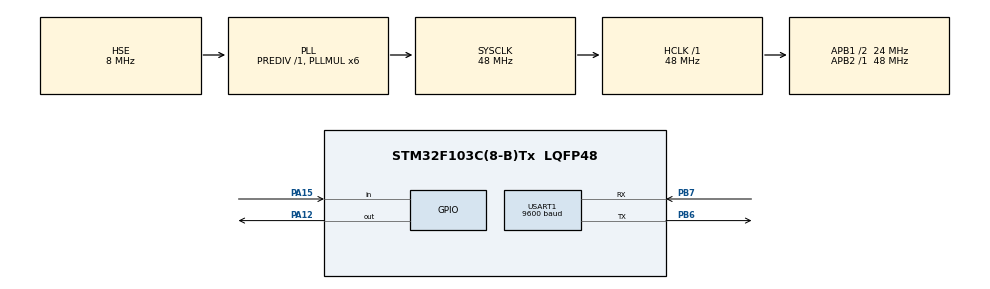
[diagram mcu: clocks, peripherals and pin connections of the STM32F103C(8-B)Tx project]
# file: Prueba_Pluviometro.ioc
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Mcu.Family=STM32F1
Mcu.Name=STM32F103C(8-B)Tx
Mcu.Package=LQFP48
NVIC.PriorityGroup=NVIC_PRIORITYGROUP_4
NVIC.TIM3_IRQn=true\:0\:0\:false\:false\:true\:true\:true\:true
PA12.GPIO_Speed=GPIO_SPEED_FREQ_HIGH
PA12.Signal=GPIO_Output
PA13.Mode=Serial_Wire
PA13.Signal=SYS_JTMS-SWDIO
PA14.Mode=Serial_Wire
PA14.Signal=SYS_JTCK-SWCLK
PA15.GPIO_PuPd=GPIO_PULLUP
PA15.Signal=GPIO_Input
PB6.Mode=Asynchronous
PB6.Signal=USART1_TX
PB7.Mode=Asynchronous
PB7.Signal=USART1_RX
PD0-OSC_IN.Mode=HSE-External-Oscillator
PD0-OSC_IN.Signal=RCC_OSC_IN
PD1-OSC_OUT.Mode=HSE-External-Oscillator
PD1-OSC_OUT.Signal=RCC_OSC_OUT
ProjectManager.HeapSize=0x200
ProjectManager.StackSize=0x400
ProjectManager.TargetToolchain=STM32CubeIDE
RCC.AHBFreq_Value=48000000
RCC.APB1CLKDivider=RCC_HCLK_DIV2
RCC.APB1Freq_Value=24000000
RCC.APB1TimFreq_Value=48000000
RCC.APB2Freq_Value=48000000
RCC.APB2TimFreq_Value=48000000
RCC.HCLKFreq_Value=48000000
RCC.PLLMUL=RCC_PLL_MUL6
RCC.PLLSourceVirtual=RCC_PLLSOURCE_HSE
RCC.SYSCLKFreq_VALUE=48000000
RCC.SYSCLKSource=RCC_SYSCLKSOURCE_PLLCLK
RCC.USBFreq_Value=48000000
TIM1.Prescaler=48
TIM3.Period=47999
USART1.BaudRate=9600
USART1.VirtualMode=VM_ASYNC
VP_TIM1_VS_ClockSourceINT.Mode=Internal
VP_TIM3_VS_ClockSourceINT.Mode=Internal
board=custom

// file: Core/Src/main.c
/* USER CODE BEGIN Header */
/**
  ******************************************************************************
  * @file           : main.c
  * @brief          : Main program body
  ******************************************************************************
  * @attention
  *
  * Copyright (c) 2022 STMicroelectronics.
  * All rights reserved.
  *
  * This software is licensed under terms that can be found in the LICENSE file
  * in the root directory of this software component.
  * If no LICENSE file comes with this software, it is provided AS-IS.
  *
  ******************************************************************************
  */
/* USER CODE END Header */
#include "main.h"

/* USER CODE BEGIN Includes */
#include "stdio.h"
#include "string.h"
#include "HX711.h"
/* USER CODE END Includes */

/* USER CODE BEGIN PD */
#define P1 0.0
#define P2 500.0 // Peso del objeto utilizado para la calibración del sensor (botella de agua de 500 ml)
#define d 10.5 // Diámetro del recipiente del pluviómetro (en cm)
#define pi 3.141592654 // Número pi
/* USER CODE END PD */

TIM_HandleTypeDef htim1;
TIM_HandleTypeDef htim3;

UART_HandleTypeDef huart1;

void SystemClock_Config(void);
static void MX_GPIO_Init(void);
static void MX_USART1_UART_Init(void);
static void MX_TIM3_Init(void);
static void MX_TIM1_Init(void);
/* USER CODE BEGIN PFP */
/*void Delay_Microseconds(uint16_t);
uint32_t HX711_Read_Value(_Bool);
uint32_t HX711_Read_Average(uint8_t);
void HX711_Set_Scale(uint8_t);
float Leer_Pluviometro(void);*/
/* USER CODE END PFP */

/* USER CODE BEGIN 0 */

_Bool flag_muestras=0; // Variable bandera que se activa cada 1 ms cuando interrumpe el TIM3

/* Callback que se activa cuando el timer genera una interrupción por overflow. Esta interrupción se genera
 * cada 1 ms, y sirve para generar la demora necesaria para la toma de muestras de la celda de carga */
void HAL_TIM_PeriodElapsedCallback(TIM_HandleTypeDef *htim){

	flag_muestras=1;
}

/* USER CODE END 0 */

int main(void)
{

  /* MCU Configuration--------------------------------------------------------*/

  /* Reset of all peripherals, Initializes the Flash interface and the Systick. */
  HAL_Init();

  /* Configure the system clock */
  SystemClock_Config();

  /* Initialize all configured peripherals */
  MX_GPIO_Init();
  MX_USART1_UART_Init();
  MX_TIM3_Init();
  MX_TIM1_Init();
  /* USER CODE BEGIN 2 */
  HAL_TIM_Base_Start(&htim1);
  HX711_Set_Scale(20);

  //uint32_t val;
  float precip;
  uint8_t buffer[40];

  /* USER CODE END 2 */

  /* Infinite loop */
  while (1)
  {

    /* USER CODE BEGIN 3 */
	  precip=Leer_Pluviometro();
	  sprintf((char*)buffer,"*APrecipitación: %2.1f\n*",precip);
	  HAL_UART_Transmit(&huart1, buffer, strlen((const char*)buffer),100);
  }
  /* USER CODE END 3 */
}

void SystemClock_Config(void)
{
  RCC_OscInitTypeDef RCC_OscInitStruct = {0};
  RCC_ClkInitTypeDef RCC_ClkInitStruct = {0};

  /** Initializes the RCC Oscillators according to the specified parameters
  * in the RCC_OscInitTypeDef structure.
  */
  RCC_OscInitStruct.OscillatorType = RCC_OSCILLATORTYPE_HSE;
  RCC_OscInitStruct.HSEState = RCC_HSE_ON;
  RCC_OscInitStruct.HSEPredivValue = RCC_HSE_PREDIV_DIV1;
  RCC_OscInitStruct.HSIState = RCC_HSI_ON;
  RCC_OscInitStruct.PLL.PLLState = RCC_PLL_ON;
  RCC_OscInitStruct.PLL.PLLSource = RCC_PLLSOURCE_HSE;
  RCC_OscInitStruct.PLL.PLLMUL = RCC_PLL_MUL6;
  if (HAL_RCC_OscConfig(&RCC_OscInitStruct) != HAL_OK)
  {
    Error_Handler();
  }

  /** Initializes the CPU, AHB and APB buses clocks
  */
  RCC_ClkInitStruct.ClockType = RCC_CLOCKTYPE_HCLK|RCC_CLOCKTYPE_SYSCLK
                              |RCC_CLOCKTYPE_PCLK1|RCC_CLOCKTYPE_PCLK2;
  RCC_ClkInitStruct.SYSCLKSource = RCC_SYSCLKSOURCE_PLLCLK;
  RCC_ClkInitStruct.AHBCLKDivider = RCC_SYSCLK_DIV1;
  RCC_ClkInitStruct.APB1CLKDivider = RCC_HCLK_DIV2;
  RCC_ClkInitStruct.APB2CLKDivider = RCC_HCLK_DIV1;

  if (HAL_RCC_ClockConfig(&RCC_ClkInitStruct, FLASH_LATENCY_1) != HAL_OK)
  {
    Error_Handler();
  }
}

static void MX_TIM1_Init(void)
{

  TIM_ClockConfigTypeDef sClockSourceConfig = {0};
  TIM_MasterConfigTypeDef sMasterConfig = {0};

  htim1.Instance = TIM1;
  htim1.Init.Prescaler = 48;
  htim1.Init.CounterMode = TIM_COUNTERMODE_UP;
  htim1.Init.Period = 65535;
  htim1.Init.ClockDivision = TIM_CLOCKDIVISION_DIV1;
  htim1.Init.RepetitionCounter = 0;
  htim1.Init.AutoReloadPreload = TIM_AUTORELOAD_PRELOAD_DISABLE;
  if (HAL_TIM_Base_Init(&htim1) != HAL_OK)
  {
    Error_Handler();
  }
  sClockSourceConfig.ClockSource = TIM_CLOCKSOURCE_INTERNAL;
  if (HAL_TIM_ConfigClockSource(&htim1, &sClockSourceConfig) != HAL_OK)
  {
    Error_Handler();
  }
  sMasterConfig.MasterOutputTrigger = TIM_TRGO_RESET;
  sMasterConfig.MasterSlaveMode = TIM_MASTERSLAVEMODE_DISABLE;
  if (HAL_TIMEx_MasterConfigSynchronization(&htim1, &sMasterConfig) != HAL_OK)
  {
    Error_Handler();
  }

}

static void MX_TIM3_Init(void)
{

  TIM_ClockConfigTypeDef sClockSourceConfig = {0};
  TIM_MasterConfigTypeDef sMasterConfig = {0};

  htim3.Instance = TIM3;
  htim3.Init.Prescaler = 0;
  htim3.Init.CounterMode = TIM_COUNTERMODE_UP;
  htim3.Init.Period = 47999;
  htim3.Init.ClockDivision = TIM_CLOCKDIVISION_DIV1;
  htim3.Init.AutoReloadPreload = TIM_AUTORELOAD_PRELOAD_DISABLE;
  if (HAL_TIM_Base_Init(&htim3) != HAL_OK)
  {
    Error_Handler();
  }
  sClockSourceConfig.ClockSource = TIM_CLOCKSOURCE_INTERNAL;
  if (HAL_TIM_ConfigClockSource(&htim3, &sClockSourceConfig) != HAL_OK)
  {
    Error_Handler();
  }
  sMasterConfig.MasterOutputTrigger = TIM_TRGO_RESET;
  sMasterConfig.MasterSlaveMode = TIM_MASTERSLAVEMODE_DISABLE;
  if (HAL_TIMEx_MasterConfigSynchronization(&htim3, &sMasterConfig) != HAL_OK)
  {
    Error_Handler();
  }

}

static void MX_USART1_UART_Init(void)
{

  huart1.Instance = USART1;
  huart1.Init.BaudRate = 9600;
  huart1.Init.WordLength = UART_WORDLENGTH_8B;
  huart1.Init.StopBits = UART_STOPBITS_1;
  huart1.Init.Parity = UART_PARITY_NONE;
  huart1.Init.Mode = UART_MODE_TX_RX;
  huart1.Init.HwFlowCtl = UART_HWCONTROL_NONE;
  huart1.Init.OverSampling = UART_OVERSAMPLING_16;
  if (HAL_UART_Init(&huart1) != HAL_OK)
  {
    Error_Handler();
  }

}

static void MX_GPIO_Init(void)
{
  GPIO_InitTypeDef GPIO_InitStruct = {0};

  /* GPIO Ports Clock Enable */
  __HAL_RCC_GPIOD_CLK_ENABLE();
  __HAL_RCC_GPIOA_CLK_ENABLE();
  __HAL_RCC_GPIOB_CLK_ENABLE();

  /*Configure GPIO pin Output Level */
  HAL_GPIO_WritePin(GPIOA, GPIO_PIN_12, GPIO_PIN_RESET);

  /*Configure GPIO pin : PA12 */
  GPIO_InitStruct.Pin = GPIO_PIN_12;
  GPIO_InitStruct.Mode = GPIO_MODE_OUTPUT_PP;
  GPIO_InitStruct.Pull = GPIO_NOPULL;
  GPIO_InitStruct.Speed = GPIO_SPEED_FREQ_HIGH;
  HAL_GPIO_Init(GPIOA, &GPIO_InitStruct);

  /*Configure GPIO pin : PA15 */
  GPIO_InitStruct.Pin = GPIO_PIN_15;
  GPIO_InitStruct.Mode = GPIO_MODE_INPUT;
  GPIO_InitStruct.Pull = GPIO_PULLUP;
  HAL_GPIO_Init(GPIOA, &GPIO_InitStruct);

}

void Error_Handler(void)
{
  __disable_irq();
  while (1)
  {
  }
}
